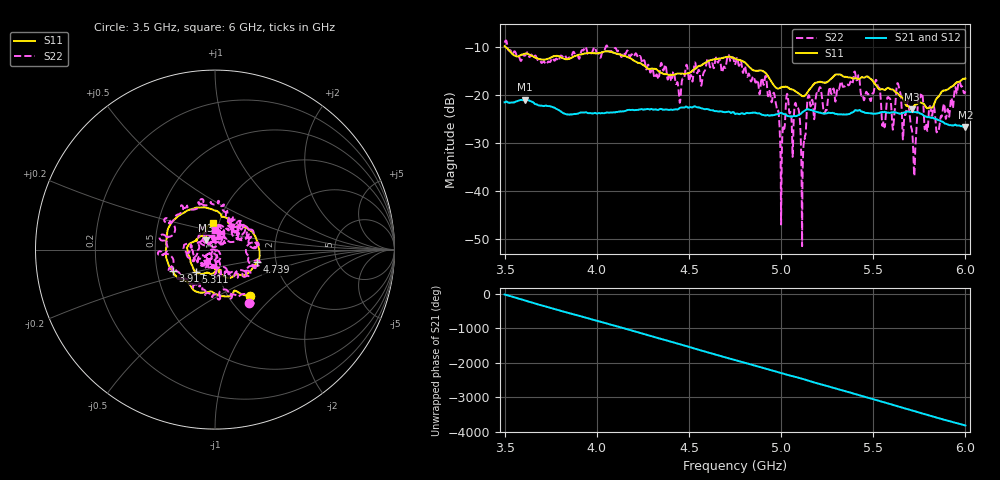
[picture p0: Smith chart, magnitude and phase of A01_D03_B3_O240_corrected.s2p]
! Created with skrf 1.9.0 (http://scikit-rf.org).
# Hz S RI R 50.0
!freq ReS11 ImS11 ReS21 ImS21 ReS12 ImS12 ReS22 ImS22
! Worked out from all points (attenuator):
!   1601 points, 3.5 GHz to 6 GHz, reference 50 ohm
!   highest |S21| = -20.97 dB at 3.611 GHz (marker M1); lowest = -26.7 dB at 6 GHz (marker M2)
!   lowest |S11| = -22.9 dB at 5.708 GHz (marker M3), VSWR 1.15, Z = 45.1 + j4.66 ohm
!   |S11| at or under -10 dB: 3.507 GHz to end of sweep
!   |S22| runs from -51.5 to -8.6 dB; largest |S21 - S12| = 0.0011
!   S11 on the Smith chart (normalised r, x): 3.5 GHz: 1.26, -0.72; 3.917 GHz: 0.60, -0.16; 4.739 GHz: 1.59, -0.24; 5.311 GHz: 0.79, -0.20; 6 GHz: 0.94, +0.28
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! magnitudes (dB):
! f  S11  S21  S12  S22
! 3.5 GHz  -9.8  -21.5  -21.5  -9.1
! 3.611 GHz  -11.4  -21.0  -21.0  -11.8
! 3.917 GHz  -11.5  -23.6  -23.6  -10.7
! 4.334 GHz  -15.0  -23.1  -23.0  -16.7
! 4.739 GHz  -12.2  -23.5  -23.6  -12.1
! 4.75 GHz  -12.4  -23.9  -23.8  -13.7
! 4.964 GHz  -18.1  -24.1  -24.1  -19.9
! 5.005 GHz  -18.3  -23.7  -23.8  -30.9
! 5.033 GHz  -18.3  -24.3  -24.2  -19.7
! 5.084 GHz  -19.4  -24.4  -24.3  -22.6
! 5.12 GHz  -20.2  -23.4  -23.4  -31.5
! 5.145 GHz  -19.3  -22.9  -22.9  -20.4
! 5.167 GHz  -18.2  -23.1  -23.1  -21.0
! 5.311 GHz  -15.7  -24.0  -24.0  -18.8
! 5.556 GHz  -18.9  -23.6  -23.5  -25.5
! 5.584 GHz  -18.6  -23.7  -23.6  -20.5
! 5.638 GHz  -19.8  -23.8  -23.8  -18.0
! 5.708 GHz  -22.9  -23.5  -23.5  -26.9
! 5.725 GHz  -22.0  -23.5  -23.5  -34.8
! 5.756 GHz  -21.6  -23.9  -23.8  -20.5
! 5.85 GHz  -20.5  -25.2  -25.1  -27.3
! 6 GHz  -16.5  -26.7  -26.6  -19.2
